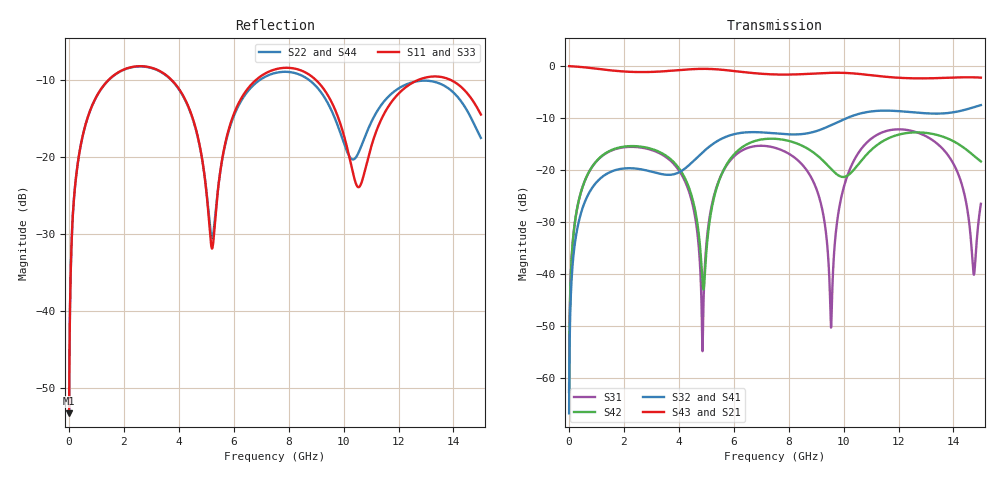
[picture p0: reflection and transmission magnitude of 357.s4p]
! Created with skrf 1.8.0 (http://scikit-rf.org).
# GHz S RI R 50.0
!freq ReS11 ImS11 ReS12 ImS12 ReS13 ImS13
! ReS14 ImS14
! ReS21 ImS21 ReS22 ImS22 ReS23 ImS23
! ReS24 ImS24
! ReS31 ImS31 ReS32 ImS32 ReS33 ImS33
! ReS34 ImS34
! ReS41 ImS41 ReS42 ImS42 ReS43 ImS43
! ReS44 ImS44
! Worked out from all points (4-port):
!   2499 points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, 5 MHz to 15 GHz, reference 50 ohm
!   strongest paths, dB at 5 MHz, 3.476 GHz, 7.19 GHz, 11.1 GHz, 15 GHz:
!     S43: 0.0, -1.0, -1.5, -1.8, -2.2
!     S21: 0.0, -1.0, -1.5, -1.8, -2.2
!     S32: -66.8, -20.9, -12.8, -8.7, -7.5
!     S41: -66.8, -20.8, -12.8, -8.7, -7.5
!     S42: -62.7, -17.0, -14.0, -15.7, -18.3
!     S31: -62.7, -17.3, -15.4, -13.6, -26.5
!   lowest |S11| = -53.3 dB at 5 MHz (marker M1), VSWR 1.00, Z = 50.2 + j0.13 ohm
!   |S11| at or under -10 dB: start of sweep to 1.441 GHz; 3.738 GHz to 6.809 GHz (3.071 GHz wide, 58.2 % of centre); 8.992 GHz to 12.71 GHz (3.723 GHz wide, 34.3 % of centre) (the widest 3 of 4)
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0.005  0.00172 0.0013  0.9982 -0.00335  8.82e-05 0.000731  -8.55e-05 -0.000451
       0.9982 -0.00335  0.00172 0.0013  -8.55e-05 -0.000451  8.84e-05 0.000731
       8.82e-05 0.000731  -8.55e-05 -0.000451  0.00172 0.0013  0.9982 -0.00335
       -8.55e-05 -0.000451  8.84e-05 0.000731  0.9982 -0.00335  0.00172 0.0013
1.619545  0.2961 0.1618  0.487 -0.7619  0.1445 0.0611  -0.0985 0.00519
          0.487 -0.7619  0.2944 0.1631  -0.0984 0.00515  0.1493 0.0536
          0.1445 0.0611  -0.0984 0.00515  0.2961 0.1618  0.4871 -0.7619
          -0.0985 0.00519  0.1493 0.0536  0.4871 -0.7619  0.2944 0.1631
4.858274  0.042 -0.0847  -0.8976 -0.2813  -0.0017 -0.000775  -0.0391 0.1422
          -0.8976 -0.2813  0.0466 -0.082  -0.04 0.142  -0.00717 -0.00525
          -0.0017 -0.000775  -0.04 0.142  0.0402 -0.0851  -0.8976 -0.2815
          -0.0391 0.1422  -0.00717 -0.00525  -0.8976 -0.2815  0.0483 -0.0813
8.053356  0.3768 -0.0386  -0.0207 0.8284  0.1352 -0.0409  0.2124 -0.0568
          -0.0207 0.8284  0.3554 -0.0154  0.2131 -0.0558  0.1388 -0.1288
          0.1352 -0.0409  0.2131 -0.0558  0.3753 -0.0344  -0.0212 0.8291
          0.2124 -0.0568  0.1388 -0.1288  -0.0212 0.8291  0.3537 -0.0189
9.541476  0.159 -0.1676  0.6379 0.5782  0.00289 0.00101  0.1749 -0.2056
          0.6379 0.5782  0.165 -0.1193  0.176 -0.2049  -0.0666 -0.0784
          0.00289 0.00101  0.176 -0.2049  0.1599 -0.1638  0.6381 0.5788
          0.1749 -0.2056  -0.0666 -0.0784  0.6381 0.5788  0.1615 -0.1199
11.17341  0.1172 0.0835  0.7787 -0.2131  0.1446 0.159  -0.1369 -0.3442
          0.7787 -0.2131  0.1663 0.0952  -0.1343 -0.3451  0.0868 0.1467
          0.1446 0.159  -0.1343 -0.3451  0.1172 0.0845  0.7792 -0.2118
          -0.1369 -0.3442  0.0868 0.1467  0.7792 -0.2118  0.1655 0.0946
15  0.1466 -0.1185  -0.5974 -0.4906  0.00164 0.0474  -0.2612 0.3305
    -0.5974 -0.4906  0.1275 -0.0375  -0.2643 0.3286  -0.1061 -0.0582
    0.00164 0.0474  -0.2643 0.3286  0.1459 -0.1076  -0.5981 -0.4921
    -0.2612 0.3305  -0.1061 -0.0582  -0.5981 -0.4921  0.1179 -0.0342
